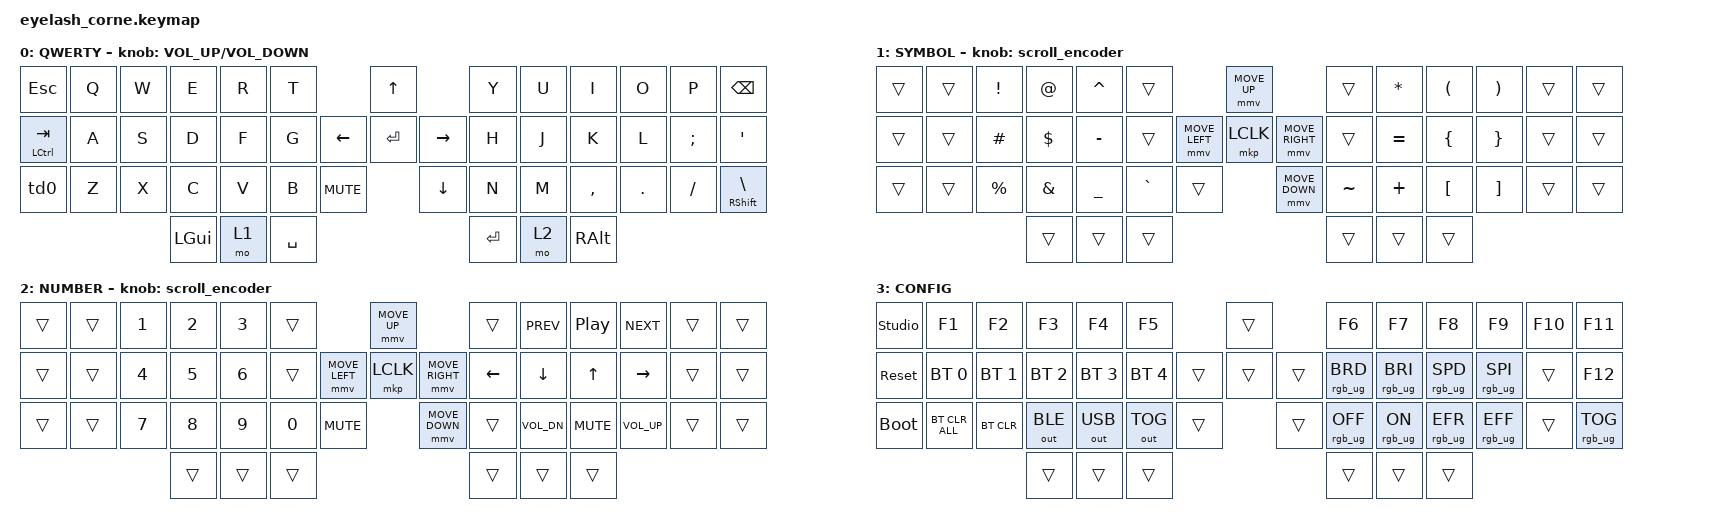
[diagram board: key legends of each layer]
#define ZMK_POINTING_DEFAULT_MOVE_VAL 1200  // 600
#define ZMK_POINTING_DEFAULT_SCRL_VAL 25   // 10

#include <input/processors.dtsi>
#include <zephyr/dt-bindings/input/input-event-codes.h>
#include <behaviors.dtsi>
#include <dt-bindings/zmk/bt.h>
#include <dt-bindings/zmk/keys.h>
#include <dt-bindings/zmk/outputs.h>
#include <dt-bindings/zmk/pointing.h>
#include <dt-bindings/zmk/rgb.h>

&mmv_input_listener { input-processors = <&zip_xy_scaler 2 1>; };

&msc_input_listener { input-processors = <&zip_scroll_scaler 2 1>; };

&msc {
    acceleration-exponent = <1>;      // 0
    time-to-max-speed-ms = <100>;       // 300
    delay-ms = <0>;                   // 0
};

&mmv {
    time-to-max-speed-ms = <500>;
    acceleration-exponent = <1>;
    trigger-period-ms = <16>;
};

/ {
    behaviors {
        td0: td0 {
            compatible = "zmk,behavior-tap-dance";
            display-name = "Shift/Caps Lock Tap Dance";
            #binding-cells = <0>;
            bindings = <&kp LEFT_SHIFT>, <&kp CAPS>;
        };
    };

    rgb_encoder: rgb_encoder {
        compatible = "zmk,behavior-sensor-rotate";
        #sensor-binding-cells = <0>;
        bindings = <&rgb_ug RGB_BRI>, <&rgb_ug RGB_BRD>;
    };

    scroll_encoder: scroll_encoder {
        compatible = "zmk,behavior-sensor-rotate";
        #sensor-binding-cells = <0>;
        bindings = <&msc SCRL_DOWN>, <&msc SCRL_UP>;

        tap-ms = <100>;
    };

    keymap {
        compatible = "zmk,keymap";

        default_layer {
            display-name = "QWERTY";
            bindings = <
&kp ESC        &kp Q  &kp W  &kp E     &kp R  &kp T                              &kp UP                &kp Y       &kp U  &kp I      &kp O    &kp P          &kp BACKSPACE
&mt LCTRL TAB  &kp A  &kp S  &kp D     &kp F  &kp G                    &kp LEFT  &kp ENTER  &kp RIGHT  &kp H       &kp J  &kp K      &kp L    &kp SEMICOLON  &kp SQT
&td0           &kp Z  &kp X  &kp C     &kp V  &kp B      &kp C_MUTE              &kp DOWN              &kp N       &kp M  &kp COMMA  &kp DOT  &kp FSLH       &mt RIGHT_SHIFT BACKSLASH
                             &kp LGUI  &mo 1  &kp SPACE                                                &kp RETURN  &mo 2  &kp RALT
            >;

            sensor-bindings = <&inc_dec_kp C_VOLUME_UP C_VOLUME_DOWN>;
        };

        raise_layer {
            display-name = "SYMBOL";
            bindings = <
&trans  &trans  &kp EXCL     &kp AT      &kp CARET  &trans                               &mmv MOVE_UP                     &trans     &kp ASTRK  &kp LPAR          &kp RPAR           &trans  &trans
&trans  &trans  &kp HASH     &kp DOLLAR  &kp MINUS  &trans               &mmv MOVE_LEFT  &mkp LCLK       &mmv MOVE_RIGHT  &trans     &kp EQUAL  &kp LBRC          &kp RBRC           &trans  &trans
&trans  &trans  &kp PERCENT  &kp AMPS    &kp UNDER  &kp GRAVE  &trans                    &mmv MOVE_DOWN                   &kp TILDE  &kp PLUS   &kp LEFT_BRACKET  &kp RIGHT_BRACKET  &trans  &trans
                             &trans      &trans     &trans                                                                &trans     &trans     &trans
            >;

            sensor-bindings = <&scroll_encoder>;
        };

        lower_layer {
            display-name = "NUMBER";
            bindings = <
&trans  &trans  &kp N1  &kp N2  &kp N3  &trans                                &mmv MOVE_UP                     &trans    &kp C_PREV    &kp C_PLAY_PAUSE  &kp C_NEXT    &trans  &trans
&trans  &trans  &kp N4  &kp N5  &kp N6  &trans                &mmv MOVE_LEFT  &mkp LCLK       &mmv MOVE_RIGHT  &kp LEFT  &kp DOWN      &kp UP            &kp RIGHT     &trans  &trans
&trans  &trans  &kp N7  &kp N8  &kp N9  &kp N0  &kp C_MUTE                    &mmv MOVE_DOWN                   &trans    &kp C_VOL_DN  &kp C_MUTE        &kp C_VOL_UP  &trans  &trans
                        &trans  &trans  &trans                                                                 &trans    &trans        &trans
            >;

            sensor-bindings = <&scroll_encoder>;
        };

        config_layer {
            bindings = <
&studio_unlock  &kp F1          &kp F2        &kp F3        &kp F4        &kp F5                          &trans          &kp F6           &kp F7           &kp F8           &kp F9           &kp F10  &kp F11
&sys_reset      &bt BT_SEL 0    &bt BT_SEL 1  &bt BT_SEL 2  &bt BT_SEL 3  &bt BT_SEL 4            &trans  &trans  &trans  &rgb_ug RGB_BRD  &rgb_ug RGB_BRI  &rgb_ug RGB_SPD  &rgb_ug RGB_SPI  &trans   &kp F12
&bootloader     &bt BT_CLR_ALL  &bt BT_CLR    &out OUT_BLE  &out OUT_USB  &out OUT_TOG  &trans            &trans          &rgb_ug RGB_OFF  &rgb_ug RGB_ON   &rgb_ug RGB_EFR  &rgb_ug RGB_EFF  &trans   &rgb_ug RGB_TOG
                                              &trans        &trans        &trans                                          &trans           &trans           &trans
            >;

            label = "CONFIG";
        };
    };

    conditional_layers {
        compatible = "zmk,conditional-layers";

        CONFIG {
            if-layers = <1 2>;
            then-layer = <3>;
        };
    };
};
